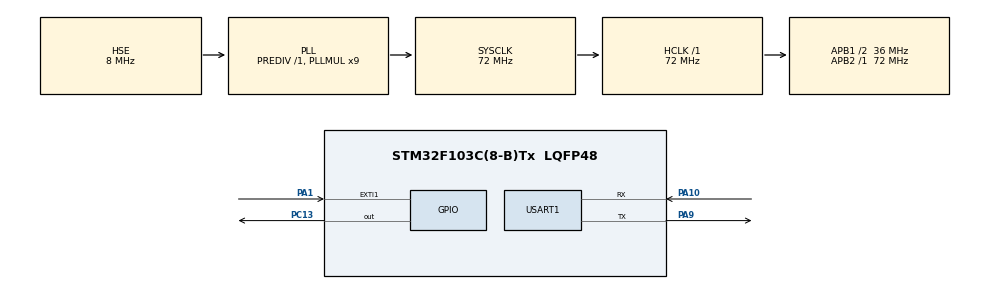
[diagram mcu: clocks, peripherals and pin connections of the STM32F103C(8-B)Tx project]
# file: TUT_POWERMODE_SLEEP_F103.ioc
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Mcu.Family=STM32F1
Mcu.Name=STM32F103C(8-B)Tx
Mcu.Package=LQFP48
NVIC.EXTI1_IRQn=true\:0\:0\:false\:false\:true\:true\:true
NVIC.PriorityGroup=NVIC_PRIORITYGROUP_4
NVIC.USART1_IRQn=true\:0\:0\:false\:false\:true\:true\:true
PA1.GPIO_ModeDefaultEXTI=GPIO_MODE_IT_RISING
PA1.Signal=GPXTI1
PA10.Mode=Asynchronous
PA10.Signal=USART1_RX
PA13.Mode=Serial_Wire
PA13.Signal=SYS_JTMS-SWDIO
PA14.Mode=Serial_Wire
PA14.Signal=SYS_JTCK-SWCLK
PA9.Mode=Asynchronous
PA9.Signal=USART1_TX
PC13-TAMPER-RTC.Signal=GPIO_Output
PD0-OSC_IN.Mode=HSE-External-Oscillator
PD0-OSC_IN.Signal=RCC_OSC_IN
PD1-OSC_OUT.Mode=HSE-External-Oscillator
PD1-OSC_OUT.Signal=RCC_OSC_OUT
ProjectManager.HeapSize=0x200
ProjectManager.StackSize=0x400
ProjectManager.TargetToolchain=STM32CubeIDE
RCC.AHBFreq_Value=72000000
RCC.APB1CLKDivider=RCC_HCLK_DIV2
RCC.APB1Freq_Value=36000000
RCC.APB1TimFreq_Value=72000000
RCC.APB2Freq_Value=72000000
RCC.APB2TimFreq_Value=72000000
RCC.HCLKFreq_Value=72000000
RCC.PLLMUL=RCC_PLL_MUL9
RCC.PLLSourceVirtual=RCC_PLLSOURCE_HSE
RCC.SYSCLKFreq_VALUE=72000000
RCC.SYSCLKSource=RCC_SYSCLKSOURCE_PLLCLK
RCC.USBFreq_Value=72000000
USART1.VirtualMode=VM_ASYNC
board=custom

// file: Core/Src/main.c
/* USER CODE BEGIN Header */
/**
  ******************************************************************************
  * @file           : main.c
  * @brief          : Main program body
  ******************************************************************************
  * @attention
  *
  * <h2><center>&copy; Copyright (c) 2020 STMicroelectronics.
  * All rights reserved.</center></h2>
  *
  * This software component is licensed by ST under BSD 3-Clause license,
  * the "License"; You may not use this file except in compliance with the
  * License. You may obtain a copy of the License at:
  *                        opensource.org/licenses/BSD-3-Clause
  *
  ******************************************************************************
  */
/* USER CODE END Header */

#include "main.h"

/* USER CODE BEGIN Includes */

#include "string.h"

/* USER CODE END Includes */

UART_HandleTypeDef huart1;

void SystemClock_Config(void);
static void MX_GPIO_Init(void);
static void MX_USART1_UART_Init(void);

/* USER CODE BEGIN 0 */
char *str = {0};
uint8_t Rx_data;

void HAL_UART_RxCpltCallback(UART_HandleTypeDef *huart)
{
	HAL_UART_Receive_IT(&huart1, &Rx_data, 1);
	str = "WokeUP from SLEEP by UART\r\n";
	HAL_UART_Transmit(&huart1, (uint8_t *) str, strlen (str), HAL_MAX_DELAY);
}

void HAL_GPIO_EXTI_Callback(uint16_t GPIO_Pin)
{
	str = "WokeUP from SLEEP by EXTI\r\n";
	HAL_UART_Transmit(&huart1, (uint8_t *) str, strlen (str), HAL_MAX_DELAY);
	HAL_ResumeTick();
	HAL_PWR_DisableSleepOnExit();
}
/* USER CODE END 0 */

int main(void)
{

  /* MCU Configuration--------------------------------------------------------*/

  /* Reset of all peripherals, Initializes the Flash interface and the Systick. */
  HAL_Init();

  /* Configure the system clock */
  SystemClock_Config();

  /* Initialize all configured peripherals */
  MX_GPIO_Init();
  MX_USART1_UART_Init();
  /* USER CODE BEGIN 2 */

  HAL_UART_Receive_IT(&huart1, &Rx_data, 1);

  /* USER CODE END 2 */

  /* Infinite loop */
  while (1)
  {

    /* USER CODE BEGIN 3 */

	  str = "Going into Sleep MODE in 5 Seconds\r\n";
	  HAL_UART_Transmit(&huart1, (uint8_t *)str, strlen(str), HAL_MAX_DELAY);

	  HAL_GPIO_WritePin(GPIOC, GPIO_PIN_13, 0);
	  HAL_Delay(5000);

	  /*    Suspend Tick increment to prevent wakeup by Systick interrupt.
	  	  Otherwise the Systick interrupt will wake up the device within 1ms (HAL time base)
	  */
	  HAL_SuspendTick();

	  HAL_GPIO_WritePin(GPIOC, GPIO_PIN_13, 1);  // Just to indicate sleep mode is activated

	  HAL_PWR_EnableSleepOnExit();
	  // Enter the sleep MODE NOW....
	  HAL_PWR_EnterSLEEPMode(PWR_MAINREGULATOR_ON, PWR_SLEEPENTRY_WFI);   // interrupt for wake up

//	  HAL_ResumeTick();

	  str = "Woke UP from Sleep MODE\r\n";
	  HAL_UART_Transmit(&huart1, (uint8_t *)str, strlen(str), HAL_MAX_DELAY);

	  for (int i=0; i<20; i++)
	  {
		  HAL_GPIO_TogglePin(GPIOC, GPIO_PIN_13);
		  HAL_Delay(150);
	  }

  }
  /* USER CODE END 3 */
}

void SystemClock_Config(void)
{
  RCC_OscInitTypeDef RCC_OscInitStruct = {0};
  RCC_ClkInitTypeDef RCC_ClkInitStruct = {0};

  /** Initializes the CPU, AHB and APB busses clocks
  */
  RCC_OscInitStruct.OscillatorType = RCC_OSCILLATORTYPE_HSE;
  RCC_OscInitStruct.HSEState = RCC_HSE_ON;
  RCC_OscInitStruct.HSEPredivValue = RCC_HSE_PREDIV_DIV1;
  RCC_OscInitStruct.HSIState = RCC_HSI_ON;
  RCC_OscInitStruct.PLL.PLLState = RCC_PLL_ON;
  RCC_OscInitStruct.PLL.PLLSource = RCC_PLLSOURCE_HSE;
  RCC_OscInitStruct.PLL.PLLMUL = RCC_PLL_MUL9;
  if (HAL_RCC_OscConfig(&RCC_OscInitStruct) != HAL_OK)
  {
    Error_Handler();
  }
  /** Initializes the CPU, AHB and APB busses clocks
  */
  RCC_ClkInitStruct.ClockType = RCC_CLOCKTYPE_HCLK|RCC_CLOCKTYPE_SYSCLK
                              |RCC_CLOCKTYPE_PCLK1|RCC_CLOCKTYPE_PCLK2;
  RCC_ClkInitStruct.SYSCLKSource = RCC_SYSCLKSOURCE_PLLCLK;
  RCC_ClkInitStruct.AHBCLKDivider = RCC_SYSCLK_DIV1;
  RCC_ClkInitStruct.APB1CLKDivider = RCC_HCLK_DIV2;
  RCC_ClkInitStruct.APB2CLKDivider = RCC_HCLK_DIV1;

  if (HAL_RCC_ClockConfig(&RCC_ClkInitStruct, FLASH_LATENCY_2) != HAL_OK)
  {
    Error_Handler();
  }
}

static void MX_USART1_UART_Init(void)
{

  huart1.Instance = USART1;
  huart1.Init.BaudRate = 115200;
  huart1.Init.WordLength = UART_WORDLENGTH_8B;
  huart1.Init.StopBits = UART_STOPBITS_1;
  huart1.Init.Parity = UART_PARITY_NONE;
  huart1.Init.Mode = UART_MODE_TX_RX;
  huart1.Init.HwFlowCtl = UART_HWCONTROL_NONE;
  huart1.Init.OverSampling = UART_OVERSAMPLING_16;
  if (HAL_UART_Init(&huart1) != HAL_OK)
  {
    Error_Handler();
  }

}

static void MX_GPIO_Init(void)
{
  GPIO_InitTypeDef GPIO_InitStruct = {0};

  /* GPIO Ports Clock Enable */
  __HAL_RCC_GPIOC_CLK_ENABLE();
  __HAL_RCC_GPIOD_CLK_ENABLE();
  __HAL_RCC_GPIOA_CLK_ENABLE();

  /*Configure GPIO pin Output Level */
  HAL_GPIO_WritePin(GPIOC, GPIO_PIN_13, GPIO_PIN_RESET);

  /*Configure GPIO pin : PC13 */
  GPIO_InitStruct.Pin = GPIO_PIN_13;
  GPIO_InitStruct.Mode = GPIO_MODE_OUTPUT_PP;
  GPIO_InitStruct.Pull = GPIO_NOPULL;
  GPIO_InitStruct.Speed = GPIO_SPEED_FREQ_LOW;
  HAL_GPIO_Init(GPIOC, &GPIO_InitStruct);

  /*Configure GPIO pin : PA1 */
  GPIO_InitStruct.Pin = GPIO_PIN_1;
  GPIO_InitStruct.Mode = GPIO_MODE_IT_RISING;
  GPIO_InitStruct.Pull = GPIO_NOPULL;
  HAL_GPIO_Init(GPIOA, &GPIO_InitStruct);

  /* EXTI interrupt init*/
  HAL_NVIC_SetPriority(EXTI1_IRQn, 0, 0);
  HAL_NVIC_EnableIRQ(EXTI1_IRQn);

}

void Error_Handler(void)
{
}

/************************ (C) COPYRIGHT STMicroelectronics *****END OF FILE****/
